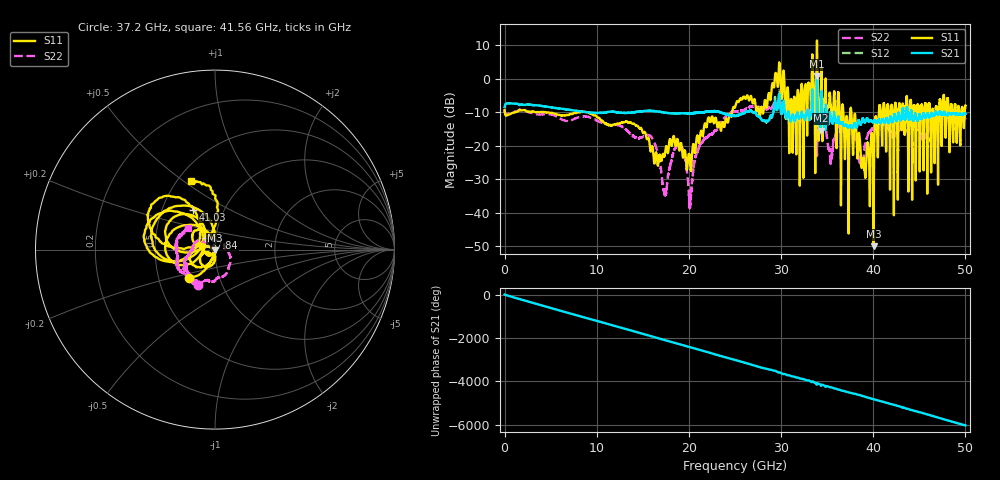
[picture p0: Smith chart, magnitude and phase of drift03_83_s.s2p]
!Created with skrf (http://scikit-rf.org).
# Hz S RI R 50.0
!freq ReS11 ImS11 ReS21 ImS21 ReS12 ImS12 ReS22 ImS22
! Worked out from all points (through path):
!   10001 points, 300 kHz to 50 GHz, reference 50 ohm
!   highest |S21| = 0.78 dB at 33.9 GHz (marker M1); lowest = -15.5 dB at 34.32 GHz (marker M2)
!   group delay of S21, straight-line fit = 335 ps
!   lowest |S11| = -50.1 dB at 40.05 GHz (marker M3), VSWR 1.01, Z = 49.9 - j0.289 ohm
!   |S11| at or under -10 dB: 4.471 GHz to 7.928 GHz (3.457 GHz wide, 55.8 % of centre); 9.022 GHz to 24.7 GHz (15.67 GHz wide, 93 % of centre); 37.62 GHz to 40.62 GHz (2.998 GHz wide, 7.66 % of centre) (the widest 3 of 57)
!   |S22| runs from -38.8 to -5.9 dB; largest |S21 - S12| = 0.11
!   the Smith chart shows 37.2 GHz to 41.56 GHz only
!   S11 on the Smith chart (normalised r, x): 37.2 GHz: 0.72, -0.24; 37.84 GHz: 0.89, +0.11; 41.03 GHz: 0.72, +0.34; 41.56 GHz: 0.58, +0.54
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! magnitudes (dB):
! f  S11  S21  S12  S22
! 300 kHz  -9.3  -8.5  -8.4  -9.3
! 8.335 GHz  -9.9  -9.8  -9.7  -11.3
! 16.67 GHz  -25.4  -9.8  -9.8  -22.9
! 17.41 GHz  -22.3  -10.1  -10.1  -34.8
! 19.08 GHz  -19.6  -10.3  -10.3  -20.1
! 20.14 GHz  -25.1  -10.3  -10.3  -37.4
! 21.22 GHz  -17.1  -10.1  -10.1  -19.6
! 25 GHz  -8.6  -11.1  -11.1  -9.9
! 29.66 GHz  -2.3  -8.3  -8.4  -7.1
! 31.08 GHz  -6.1  -12.6  -12.6  -10.5
! 33.34 GHz  0.4  -7.4  -7.5  -9.3
! 33.9 GHz  11.5  0.8  0.4  -23.0
! 34.32 GHz  -2.9  -15.5  -14.8  -11.2
! 35.35 GHz  -7.2  -10.8  -10.3  -24.6
! 37.2 GHz  -13.4  -14.2  -14.2  -13.3
! 37.84 GHz  -21.5  -14.4  -14.4  -14.8
! 38.72 GHz  -25.5  -13.3  -13.2  -25.2
! 40.05 GHz  -50.1  -12.7  -12.8  -15.0
! 41.03 GHz  -11.9  -12.0  -12.1  -13.1
! 41.56 GHz  -7.8  -12.5  -12.5  -14.3
! 41.67 GHz  -9.4  -13.2  -13.2  -14.6
! 50 GHz  -7.9  -10.5  -10.5  -12.1
